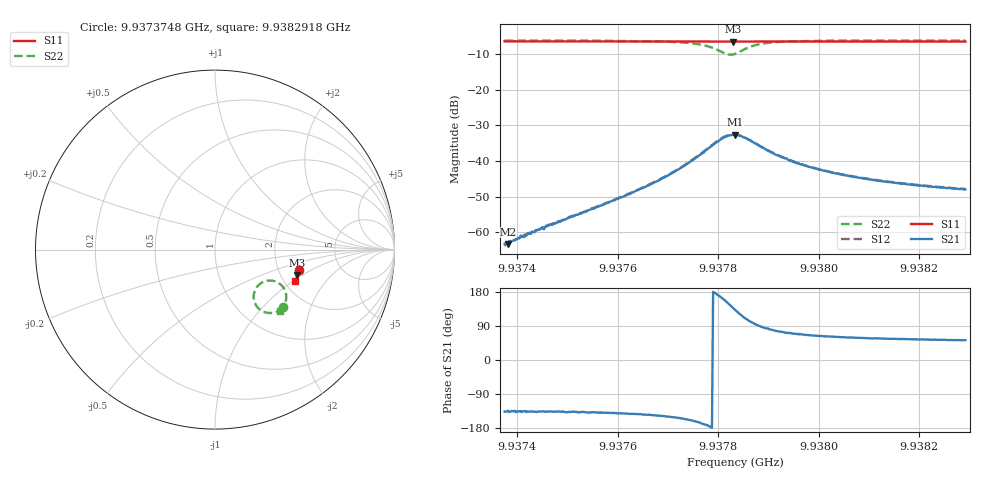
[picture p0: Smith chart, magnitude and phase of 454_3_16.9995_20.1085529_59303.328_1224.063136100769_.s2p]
#  HZ  S  RI  R  50.00
! Rohde & Schwarz Vector Network Analyzer
! Rohde-Schwarz,ZNB20-2Port,1311601062101988,3.16
! Created: UTC 3/20/2024, 11:12:24 PM
! freq[Hz]  re:S11  im:S11  re:S21  im:S21  re:S12  im:S12  re:S22  im:S22
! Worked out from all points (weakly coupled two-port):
!   401 points, 9.9373748 GHz to 9.9382918 GHz, reference 50 ohm
!   highest |S21| = -32.57 dB at 9.9378333 GHz (marker M1); lowest = -63.4 dB at 9.9373817 GHz (marker M2)
!   lowest |S11| = -6.4 dB at 9.9378287 GHz (marker M3), VSWR 2.84, Z = 122 - j45 ohm
!   |S11| at or under -10 dB: nowhere
!   |S22| runs from -10.1 to -6.1 dB; largest |S21 - S12| = 0.00096
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9.93737481e9  0.4697 -0.1133  -0.000492 -0.000472  -0.000442 -0.000454  0.3794 -0.3215
9.93738168e9  0.4697 -0.1139  -0.000469 -0.000491  -0.000526 -0.000478  0.3788 -0.3222
9.93746192e9  0.4679 -0.1192  -0.000886 -0.000846  -0.000921 -0.000867  0.3719 -0.3286
9.9375284e9  0.4664 -0.1237  -0.00135 -0.00126  -0.0014 -0.00125  0.3637 -0.3343
9.93761322e9  0.4646 -0.1294  -0.0025 -0.002  -0.00255 -0.002  0.35 -0.3428
9.937682e9  0.4626 -0.1341  -0.00446 -0.00292  -0.0046 -0.00292  0.3296 -0.3507
9.93772785e9  0.4612 -0.1371  -0.00735 -0.00354  -0.00756 -0.00348  0.3036 -0.3536
9.93777599e9  0.4594 -0.1402  -0.0141 -0.00213  -0.0144 -0.00179  0.2505 -0.3345
9.93779204e9  0.4586 -0.1412  -0.0174 0.000608  -0.0178 0.00111  0.2276 -0.3083
9.93780808e9  0.4576 -0.1416  -0.0199 0.0062  -0.0202 0.00682  0.2154 -0.2619
9.93781955e9  0.4573 -0.1416  -0.0195 0.0116  -0.0197 0.0121  0.2256 -0.2208
9.93782872e9  0.4572 -0.1417  -0.0174 0.0155  -0.0172 0.0162  0.2486 -0.1926
9.9378333e9  0.4572 -0.1417  -0.0159 0.0174  -0.0155 0.0179  0.2638 -0.1824
9.93785164e9  0.4577 -0.1425  -0.00807 0.0198  -0.00751 0.0202  0.3282 -0.175
9.93786769e9  0.4579 -0.1435  -0.00275 0.0185  -0.00231 0.0188  0.3662 -0.1947
9.93788374e9  0.4579 -0.1447  0.000298 0.0161  0.000958 0.0162  0.3857 -0.2188
9.93791354e9  0.4577 -0.1471  0.00277 0.012  0.00301 0.0123  0.3968 -0.254
9.93794563e9  0.4569 -0.1495  0.00334 0.00954  0.00364 0.00949  0.396 -0.2777
9.9379869e9  0.456 -0.1523  0.00343 0.00728  0.00363 0.00731  0.3915 -0.2961
9.93806026e9  0.4541 -0.1574  0.00314 0.00529  0.00325 0.00531  0.3826 -0.3144
9.93814049e9  0.4518 -0.1625  0.00287 0.00418  0.00292 0.00419  0.3745 -0.3264
9.9382918e9  0.4477 -0.1722  0.00242 0.00314  0.00253 0.00313  0.3622 -0.3407
